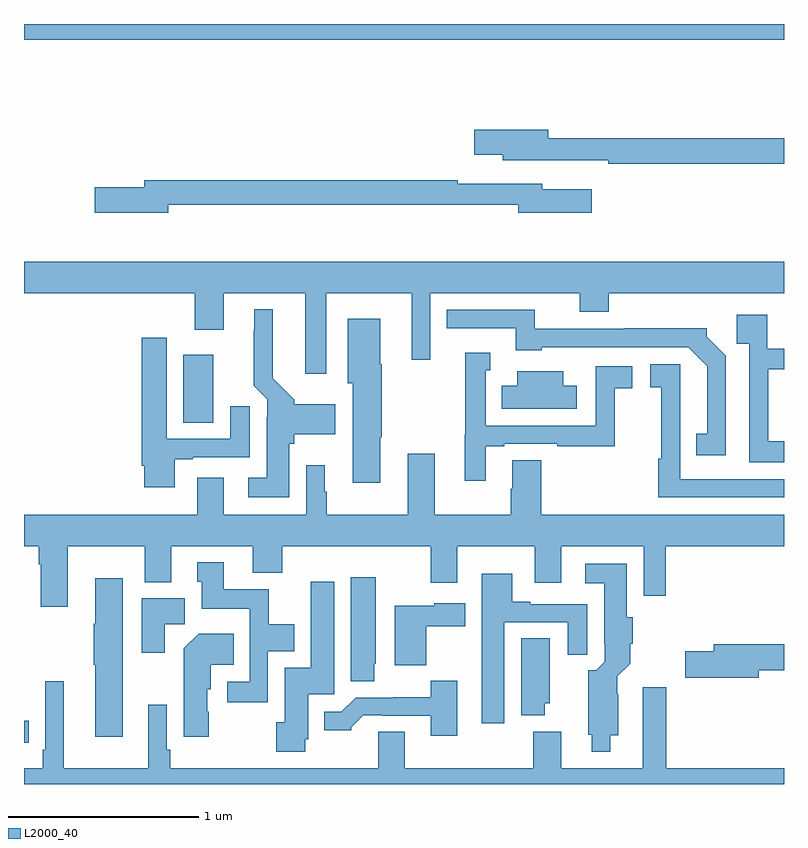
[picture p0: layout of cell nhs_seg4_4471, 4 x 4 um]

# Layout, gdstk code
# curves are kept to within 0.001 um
import gdstk
lib = gdstk.Library(unit=1e-6, precision=1e-09)
def R(c, l, rs):  # rectangles x0, y0, x1, y1
    for r in rs: c.add(gdstk.rectangle(r[:2], r[2:], *l))
def P(c, l, *ps):  # polygons
    for p in ps: c.add(gdstk.Polygon(p, *l))
L2000_40 = (2000, 40)

nhs_seg4_4471 = lib.new_cell('nhs_seg4_4471')
R(nhs_seg4_4471, L2000_40, [(351,797.118,351.026,797.234), (351.839,798.802,351.997,799.159), (351,800.816,355,800.9)])
P(nhs_seg4_4471, L2000_40, [(355,800.3),(353.758,800.3),(353.758,800.343),(353.37,800.343),(353.37,800.213),(353.519,800.213),(353.519,800.183),(354.076,800.183),(354.076,800.164),(355,800.164)],
  [(351.76,799.95),(353.6,799.95),(353.6,799.907),(353.989,799.907),(353.989,800.029),(353.728,800.029),(353.728,800.058),(353.282,800.058),(353.282,800.078),(351.632,800.078),(351.632,800.042),(351.372,800.042),(351.372,799.907),(351.76,799.907)],
  [(352.591,799.484),(353.042,799.484),(353.042,799.134),(353.139,799.134),(353.139,799.484),(353.924,799.484),(353.924,799.385),(354.077,799.385),(354.077,799.484),(355,799.484),(355,799.648),(351,799.648),(351,799.484),(351.899,799.484),(351.899,799.29),(352.051,799.29),(352.051,799.484),(352.481,799.484),(352.481,799.059),(352.591,799.059)],
  [(352.396,798.69),(352.422,798.69),(352.422,798.74),(352.639,798.74),(352.639,798.898),(352.422,798.898),(352.422,798.923),(352.309,799.036),(352.309,799.399),(352.211,799.399),(352.211,799.289),(352.208,799.289),(352.208,798.997),(352.281,798.924),(352.281,798.83),(352.277,798.83),(352.277,798.511),(352.179,798.511),(352.179,798.41),(352.396,798.41)],
  [(354.693,799.154),(354.594,799.253),(354.594,799.298),(354.16,799.298),(354.16,799.296),(353.688,799.296),(353.688,799.395),(353.224,799.395),(353.224,799.299),(353.588,799.299),(353.588,799.184),(353.724,799.184),(353.724,799.2),(354.495,799.2),(354.596,799.099),(354.596,798.743),(354.538,798.743),(354.538,798.63),(354.693,798.63)],
  [(355,798.703),(354.917,798.703),(354.917,799.083),(355,799.083),(355,799.191),(354.912,799.191),(354.912,799.369),(354.751,799.369),(354.751,799.217),(354.816,799.217),(354.816,798.594),(355,798.594)],
  [(352.876,798.724),(352.884,798.724),(352.884,799.108),(352.876,799.108),(352.876,799.348),(352.703,799.348),(352.703,799.008),(352.73,799.008),(352.73,798.486),(352.876,798.486)],
  [(351.793,798.609),(351.889,798.609),(351.889,798.621),(352.189,798.621),(352.189,798.889),(352.085,798.889),(352.085,798.717),(351.751,798.717),(351.751,799.249),(351.62,799.249),(351.62,798.574),(351.632,798.574),(351.632,798.462),(351.793,798.462)],
  [(353.431,798.678),(353.527,798.678),(353.527,798.69),(353.806,798.69),(353.806,798.678),(354.108,798.678),(354.108,798.982),(354.202,798.982),(354.202,799.098),(354.009,799.098),(354.009,798.786),(353.43,798.786),(353.43,799.077),(353.455,799.077),(353.455,799.171),(353.322,799.171),(353.322,798.739),(353.321,798.739),(353.321,798.495),(353.431,798.495)],
  [(355,798.504),(354.453,798.504),(354.453,798.832),(354.454,798.832),(354.454,799.108),(354.297,799.108),(354.297,798.987),(354.355,798.987),(354.355,798.611),(354.337,798.611),(354.337,798.408),(355,798.408)],
  [(353.908,798.997),(353.839,798.997),(353.839,799.072),(353.597,799.072),(353.597,798.997),(353.515,798.997),(353.515,798.875),(353.908,798.875)],
  [(351,798.152),(351.077,798.152),(351.077,798.056),(351.089,798.056),(351.089,797.832),(351.229,797.832),(351.229,798.152),(351.635,798.152),(351.635,797.963),(351.775,797.963),(351.775,798.152),(352.205,798.152),(352.205,798.011),(352.358,798.011),(352.358,798.152),(353.141,798.152),(353.141,797.958),(353.281,797.958),(353.281,798.152),(353.687,798.152),(353.687,797.958),(353.827,797.958),(353.827,798.152),(354.261,798.152),(354.261,797.892),(354.377,797.892),(354.377,798.152),(355,798.152),(355,798.316),(353.723,798.316),(353.723,798.605),(353.57,798.605),(353.57,798.455),(353.563,798.455),(353.563,798.316),(353.161,798.316),(353.161,798.637),(353.021,798.637),(353.021,798.316),(352.594,798.316),(352.594,798.438),(352.582,798.438),(352.582,798.577),(352.485,798.577),(352.485,798.316),(352.051,798.316),(352.051,798.511),(351.911,798.511),(351.911,798.316),(351,798.316)],
  [(352.284,797.6),(352.423,797.6),(352.423,797.74),(352.287,797.74),(352.287,797.926),(352.051,797.926),(352.051,798.067),(351.911,798.067),(351.911,797.964),(351.935,797.964),(351.935,797.822),(352.188,797.822),(352.188,797.439),(352.071,797.439),(352.071,797.331),(352.284,797.331)],
  [(354.085,797.156),(354.127,797.156),(354.127,797.372),(354.123,797.372),(354.123,797.466),(354.19,797.533),(354.19,797.638),(354.203,797.638),(354.203,797.778),(354.172,797.778),(354.172,798.058),(353.955,798.058),(353.955,797.957),(354.053,797.957),(354.053,797.638),(354.057,797.638),(354.057,797.544),(354.011,797.498),(353.969,797.498),(353.969,797.16),(353.987,797.16),(353.987,797.069),(354.085,797.069)],
  [(353.527,797.751),(353.861,797.751),(353.861,797.581),(353.964,797.581),(353.964,797.847),(353.665,797.847),(353.665,797.86),(353.569,797.86),(353.569,798.007),(353.408,798.007),(353.408,797.22),(353.527,797.22)],
  [(352.843,797.532),(352.852,797.532),(352.852,797.989),(352.721,797.989),(352.721,797.44),(352.843,797.44)],
  [(351.52,797.983),(351.374,797.983),(351.374,797.744),(351.367,797.744),(351.367,797.527),(351.374,797.527),(351.374,797.148),(351.52,797.148)],
  [(352.479,797.136),(352.495,797.136),(352.495,797.373),(352.633,797.373),(352.633,797.965),(352.508,797.965),(352.508,797.512),(352.373,797.512),(352.373,797.226),(352.327,797.226),(352.327,797.07),(352.479,797.07)],
  [(351.742,797.74),(351.847,797.74),(351.847,797.878),(351.62,797.878),(351.62,797.592),(351.742,797.592)],
  [(353.116,797.729),(353.323,797.729),(353.323,797.851),(353.16,797.851),(353.16,797.839),(352.952,797.839),(352.952,797.525),(353.116,797.525)],
  [(351.972,797.28),(351.964,797.28),(351.964,797.4),(351.982,797.4),(351.982,797.528),(352.103,797.528),(352.103,797.692),(351.92,797.692),(351.842,797.614),(351.842,797.148),(351.972,797.148)],
  [(353.74,797.325),(353.767,797.325),(353.767,797.666),(353.618,797.666),(353.618,797.261),(353.74,797.261)],
  [(354.868,797.5),(355,797.5),(355,797.636),(354.629,797.636),(354.629,797.6),(354.48,797.6),(354.48,797.458),(354.868,797.458)],
  [(353.281,797.443),(353.141,797.443),(353.141,797.356),(352.746,797.355),(352.671,797.28),(352.58,797.28),(352.58,797.183),(352.722,797.183),(352.722,797.198),(352.786,797.262),(352.885,797.262),(352.885,797.259),(353.141,797.259),(353.141,797.154),(353.281,797.154)],
  [(355,796.984),(354.38,796.984),(354.38,797.41),(354.257,797.41),(354.257,796.984),(353.827,796.984),(353.827,797.176),(353.68,797.176),(353.68,796.984),(353.005,796.984),(353.005,797.174),(352.865,797.174),(352.865,796.984),(351.77,796.984),(351.77,797.08),(351.75,797.08),(351.75,797.317),(351.653,797.317),(351.653,796.984),(351.208,796.984),(351.208,797.44),(351.111,797.44),(351.111,797.08),(351.098,797.08),(351.098,796.984),(351,796.984),(351,796.9),(355,796.9)])

lib.write_gds('nhs_seg4_4471.gds')
